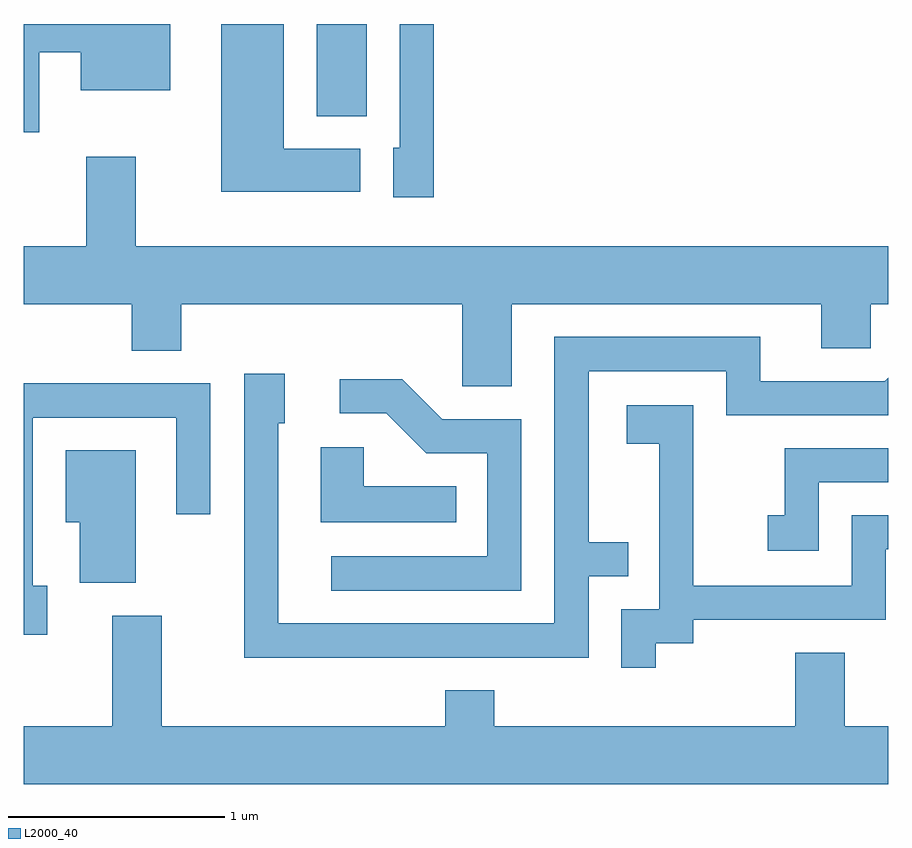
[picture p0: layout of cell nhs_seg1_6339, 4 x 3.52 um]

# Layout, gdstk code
import gdstk
lib = gdstk.Library(unit=1e-6, precision=1e-09)
def R(c, l, rs):  # rectangles x0, y0, x1, y1
    for r in rs: c.add(gdstk.rectangle(r[:2], r[2:], *l))
def P(c, l, *ps):  # polygons
    for p in ps: c.add(gdstk.Polygon(p, *l))
L2000_40 = (2000, 40)

nhs_seg1_6339 = lib.new_cell('nhs_seg1_6339')
R(nhs_seg1_6339, L2000_40, [(376.966,949.286,377.199,949.712)])
P(nhs_seg1_6339, L2000_40, [(375.684,949.581),(375.876,949.581),(375.876,949.406),(376.289,949.406),(376.289,949.712),(375.611,949.712),(375.611,949.211),(375.684,949.211)],
  [(377.169,949.134),(376.814,949.134),(376.814,949.712),(376.526,949.712),(376.526,948.936),(377.169,948.936)],
  [(377.509,949.712),(377.351,949.712),(377.351,949.139),(377.321,949.139),(377.321,948.911),(377.509,948.911)],
  [(377.869,948.416),(379.301,948.416),(379.301,948.211),(379.529,948.211),(379.529,948.416),(379.611,948.416),(379.611,948.684),(376.129,948.684),(376.129,949.099),(375.901,949.099),(375.901,948.684),(375.611,948.684),(375.611,948.416),(376.111,948.416),(376.111,948.201),(376.339,948.201),(376.339,948.416),(377.641,948.416),(377.641,948.036),(377.869,948.036)],
  [(378.224,947.156),(378.408,947.156),(378.408,947.314),(378.224,947.314),(378.224,948.106),(378.861,948.106),(378.861,947.901),(379.611,947.901),(379.611,948.076),(379.594,948.059),(379.019,948.059),(379.019,948.264),(378.066,948.264),(378.066,946.939),(376.789,946.939),(376.789,947.866),(376.819,947.866),(376.819,948.094),(376.631,948.094),(376.631,946.781),(378.224,946.781)],
  [(377.914,947.884),(377.547,947.884),(377.362,948.069),(377.073,948.069),(377.073,947.911),(377.289,947.911),(377.474,947.726),(377.756,947.726),(377.756,947.249),(377.033,947.249),(377.033,947.091),(377.914,947.091)],
  [(375.719,947.114),(375.654,947.114),(375.654,947.891),(376.316,947.891),(376.316,947.443),(376.474,947.443),(376.474,948.049),(375.611,948.049),(375.611,946.886),(375.719,946.886)],
  [(378.534,946.846),(378.709,946.846),(378.709,946.956),(379.599,946.956),(379.599,947.281),(379.611,947.281),(379.611,947.439),(379.441,947.439),(379.441,947.114),(378.709,947.114),(378.709,947.949),(378.401,947.949),(378.401,947.771),(378.551,947.771),(378.551,947.004),(378.376,947.004),(378.376,946.733),(378.534,946.733)],
  [(377.613,947.574),(377.184,947.574),(377.184,947.754),(376.986,947.754),(376.986,947.406),(377.613,947.406)],
  [(379.289,947.591),(379.611,947.591),(379.611,947.749),(379.131,947.749),(379.131,947.439),(379.053,947.439),(379.053,947.276),(379.289,947.276)],
  [(376.129,947.739),(375.806,947.739),(375.806,947.406),(375.871,947.406),(375.871,947.126),(376.129,947.126)],
  [(379.611,946.464),(379.409,946.464),(379.409,946.804),(379.181,946.804),(379.181,946.464),(377.789,946.464),(377.789,946.629),(377.561,946.629),(377.561,946.464),(376.249,946.464),(376.249,946.974),(376.021,946.974),(376.021,946.464),(375.611,946.464),(375.611,946.196),(379.611,946.196)])

lib.write_gds('nhs_seg1_6339.gds')
